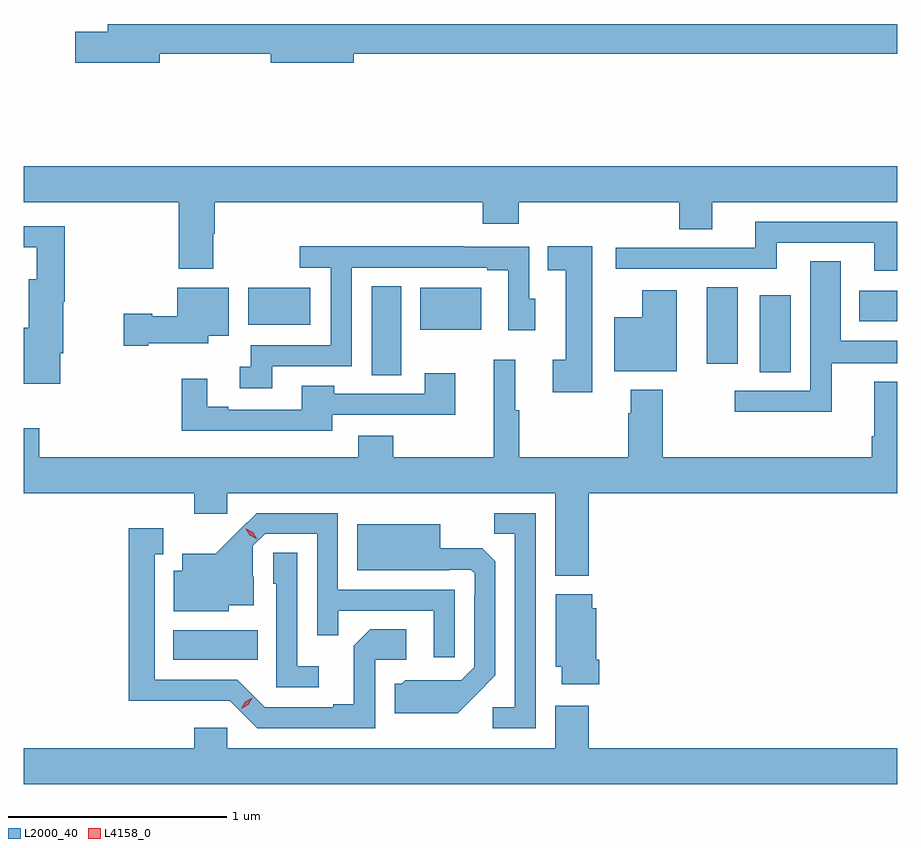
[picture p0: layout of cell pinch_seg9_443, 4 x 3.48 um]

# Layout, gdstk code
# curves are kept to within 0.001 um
import gdstk
lib = gdstk.Library(unit=1e-6, precision=1e-09)
def R(c, l, rs):  # rectangles x0, y0, x1, y1
    for r in rs: c.add(gdstk.rectangle(r[:2], r[2:], *l))
def P(c, l, *ps):  # polygons
    for p in ps: c.add(gdstk.Polygon(p, *l))
L2000_40 = (2000, 40)
L4158_0 = (4158, 0)

pinch_seg9_443 = lib.new_cell('pinch_seg9_443')
R(pinch_seg9_443, L2000_40, [(256.583,1182.338,256.97,1182.472), (257.492,1183.639,257.626,1184.048), (259.268,1183.654,259.411,1184.005), (259.025,1183.692,259.168,1184.042), (257.714,1183.847,257.992,1184.041), (256.925,1183.871,257.209,1184.041), (259.724,1183.886,259.898,1184.026)])
P(pinch_seg9_443, L2000_40, [(256.522,1185.112),(257.03,1185.112),(257.03,1185.07),(257.41,1185.07),(257.41,1185.112),(259.898,1185.112),(259.898,1185.248),(256.283,1185.248),(256.283,1185.212),(256.134,1185.212),(256.134,1185.07),(256.522,1185.07)],
  [(256.767,1184.288),(256.772,1184.288),(256.772,1184.432),(257.999,1184.432),(257.999,1184.333),(258.164,1184.333),(258.164,1184.432),(258.899,1184.432),(258.899,1184.308),(259.051,1184.308),(259.051,1184.432),(259.898,1184.432),(259.898,1184.596),(255.898,1184.596),(255.898,1184.432),(256.607,1184.432),(256.607,1184.127),(256.767,1184.127)],
  [(259.898,1184.343),(259.247,1184.343),(259.247,1184.223),(258.609,1184.223),(258.609,1184.127),(259.345,1184.127),(259.345,1184.247),(259.793,1184.247),(259.793,1184.118),(259.898,1184.118)],
  [(256.066,1183.74),(256.078,1183.74),(256.078,1183.976),(256.085,1183.976),(256.085,1184.322),(255.898,1184.322),(255.898,1184.225),(255.957,1184.225),(255.957,1184.08),(255.92,1184.08),(255.92,1183.858),(255.898,1183.858),(255.898,1183.601),(256.066,1183.601)],
  [(258.502,1184.231),(258.298,1184.231),(258.298,1184.121),(258.38,1184.121),(258.38,1183.71),(258.321,1183.71),(258.321,1183.562),(258.502,1183.562)],
  [(257.035,1183.68),(257.4,1183.68),(257.4,1184.133),(258.02,1184.133),(258.02,1184.121),(258.117,1184.121),(258.117,1183.845),(258.241,1183.845),(258.241,1183.989),(258.213,1183.989),(258.213,1184.229),(257.915,1184.229),(257.915,1184.231),(257.163,1184.231),(257.163,1184.133),(257.304,1184.133),(257.304,1183.776),(256.937,1183.776),(256.937,1183.679),(256.887,1183.679),(256.887,1183.581),(257.035,1183.581)],
  [(259.598,1183.694),(259.898,1183.694),(259.898,1183.798),(259.639,1183.798),(259.639,1184.162),(259.499,1184.162),(259.499,1183.569),(259.154,1183.569),(259.154,1183.472),(259.598,1183.472)],
  [(256.468,1183.787),(256.744,1183.787),(256.744,1183.82),(256.837,1183.82),(256.837,1184.041),(256.601,1184.041),(256.601,1183.909),(256.487,1183.909),(256.487,1183.922),(256.356,1183.922),(256.356,1183.775),(256.468,1183.775)],
  [(258.889,1184.029),(258.731,1184.029),(258.731,1183.906),(258.602,1183.906),(258.602,1183.658),(258.889,1183.658)],
  [(258.485,1183.1),(259.898,1183.1),(259.898,1183.609),(259.793,1183.609),(259.793,1183.36),(259.781,1183.36),(259.781,1183.264),(258.825,1183.264),(258.825,1183.573),(258.677,1183.573),(258.677,1183.466),(258.665,1183.466),(258.665,1183.264),(258.167,1183.264),(258.167,1183.479),(258.148,1183.479),(258.148,1183.711),(258.05,1183.711),(258.05,1183.264),(257.589,1183.264),(257.589,1183.363),(257.429,1183.363),(257.429,1183.264),(255.968,1183.264),(255.968,1183.396),(255.898,1183.396),(255.898,1183.1),(256.679,1183.1),(256.679,1183.005),(256.83,1183.005),(256.83,1183.1),(258.332,1183.1),(258.332,1182.722),(258.485,1182.722)],
  [(257.311,1183.458),(257.875,1183.458),(257.875,1183.648),(257.735,1183.648),(257.735,1183.554),(257.319,1183.554),(257.319,1183.591),(257.171,1183.591),(257.171,1183.482),(256.834,1183.482),(256.834,1183.495),(256.738,1183.495),(256.738,1183.624),(256.621,1183.624),(256.621,1183.386),(257.311,1183.386)],
  [(258.243,1183.008),(258.052,1183.008),(258.052,1182.913),(258.147,1182.913),(258.147,1182.12),(258.045,1182.12),(258.045,1182.024),(258.243,1182.024)],
  [(257.871,1182.657),(257.337,1182.657),(257.337,1183.008),(256.964,1183.008),(256.777,1182.823),(256.625,1182.823),(256.625,1182.745),(256.586,1182.745),(256.586,1182.56),(256.836,1182.56),(256.836,1182.587),(256.951,1182.587),(256.951,1182.716),(256.947,1182.716),(256.947,1182.858),(257.004,1182.915),(257.241,1182.915),(257.241,1182.448),(257.339,1182.448),(257.339,1182.561),(257.775,1182.561),(257.775,1182.348),(257.871,1182.348)],
  [(257.965,1182.173),(258.057,1182.266),(258.057,1182.788),(257.998,1182.847),(257.806,1182.847),(257.806,1182.958),(257.426,1182.958),(257.426,1182.746),(257.846,1182.746),(257.846,1182.75),(257.946,1182.75),(257.964,1182.732),(257.964,1182.632),(257.961,1182.632),(257.961,1182.303),(257.901,1182.243),(257.644,1182.244),(257.628,1182.228),(257.597,1182.228),(257.597,1182.092),(257.885,1182.092)],
  [(257.508,1182.336),(257.65,1182.336),(257.65,1182.476),(257.485,1182.476),(257.409,1182.4),(257.409,1182.133),(257.315,1182.133),(257.315,1182.12),(257.001,1182.12),(256.875,1182.246),(256.498,1182.246),(256.498,1182.819),(256.537,1182.819),(256.537,1182.94),(256.38,1182.94),(256.38,1182.149),(256.842,1182.15),(256.968,1182.024),(257.508,1182.024)],
  [(257.248,1182.307),(257.151,1182.307),(257.151,1182.827),(257.04,1182.827),(257.04,1182.684),(257.055,1182.684),(257.055,1182.21),(257.248,1182.21)],
  [(258.533,1182.337),(258.52,1182.337),(258.52,1182.573),(258.502,1182.573),(258.502,1182.637),(258.335,1182.637),(258.335,1182.306),(258.362,1182.306),(258.362,1182.225),(258.533,1182.225)],
  [(259.898,1181.932),(258.485,1181.932),(258.485,1182.127),(258.332,1182.127),(258.332,1181.932),(256.83,1181.932),(256.83,1182.025),(256.679,1182.025),(256.679,1181.932),(255.898,1181.932),(255.898,1181.768),(259.898,1181.768)])
P(pinch_seg9_443, L4158_0, [(256.963,1182.891),(256.933,1182.906),(256.915,1182.936),(256.915,1182.936),(256.916,1182.936),(256.946,1182.921),(256.964,1182.891),(256.964,1182.891)],
  [(256.894,1182.112),(256.894,1182.112),(256.912,1182.145),(256.944,1182.164),(256.944,1182.164),(256.944,1182.163),(256.926,1182.131),(256.895,1182.112)])

lib.write_gds('pinch_seg9_443.gds')
